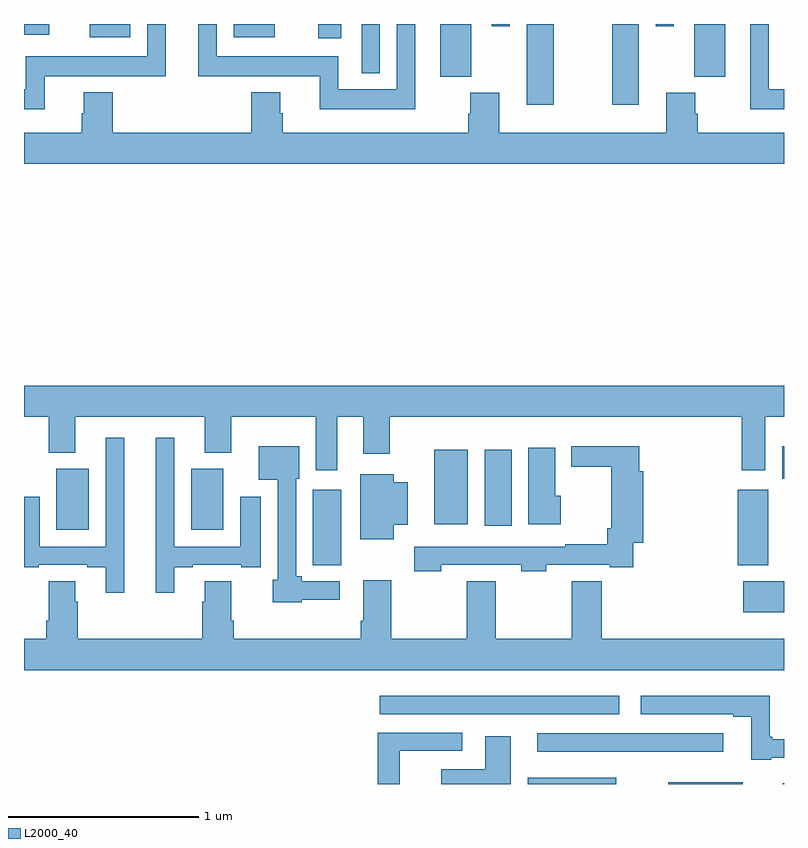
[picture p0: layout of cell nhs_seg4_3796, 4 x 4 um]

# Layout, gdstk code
import gdstk
lib = gdstk.Library(unit=1e-6, precision=1e-09)
def R(c, l, rs):  # rectangles x0, y0, x1, y1
    for r in rs: c.add(gdstk.rectangle(r[:2], r[2:], *l))
def P(c, l, *ps):  # polygons
    for p in ps: c.add(gdstk.Polygon(p, *l))
L2000_40 = (2000, 40)

nhs_seg4_3796 = lib.new_cell('nhs_seg4_3796')
R(nhs_seg4_3796, L2000_40, [(313.652,782.9,314.116,782.932), (314.39,782.9,314.782,782.908), (314.993,782.9,315,782.905), (313.701,783.071,314.68,783.168), (312.873,783.267,314.134,783.364), (314.786,783.803,315,783.966), (312.521,784.051,312.67,784.45), (314.756,784.052,314.917,784.45), (311.171,784.238,311.341,784.558), (311.879,784.238,312.049,784.558), (313.424,784.26,313.567,784.66), (313.16,784.268,313.336,784.66), (314.99,784.506,315,784.678), (313.19,786.622,313.354,786.9), (314.528,786.622,314.692,786.9), (312.777,786.641,312.873,786.9), (312.548,786.825,312.67,786.9), (311.345,786.83,311.56,786.9), (312.104,786.83,312.319,786.9), (311,786.843,311.134,786.9), (313.461,786.888,313.557,786.9), (314.325,786.888,314.421,786.9)])
P(nhs_seg4_3796, L2000_40, [(315,786.556),(314.919,786.556),(314.919,786.9),(314.822,786.9),(314.822,786.452),(315,786.452)],
  [(314.236,786.794),(314.235,786.794),(314.235,786.9),(314.139,786.9),(314.139,786.898),(314.095,786.898),(314.095,786.474),(314.236,786.474)],
  [(313.06,786.9),(312.963,786.9),(312.963,786.556),(312.654,786.556),(312.654,786.73),(312.015,786.73),(312.015,786.9),(311.918,786.9),(311.918,786.626),(312.557,786.626),(312.557,786.452),(313.06,786.452)],
  [(313.788,786.898),(313.743,786.898),(313.743,786.9),(313.647,786.9),(313.647,786.794),(313.646,786.794),(313.646,786.474),(313.788,786.474)],
  [(311.108,786.626),(311.746,786.626),(311.746,786.9),(311.649,786.9),(311.649,786.73),(311.01,786.73),(311.01,786.556),(311,786.556),(311,786.452),(311.108,786.452)],
  [(315,786.328),(314.546,786.328),(314.546,786.428),(314.533,786.428),(314.533,786.537),(314.381,786.537),(314.381,786.328),(313.502,786.328),(313.502,786.537),(313.349,786.537),(313.349,786.428),(313.337,786.428),(313.337,786.328),(312.362,786.328),(312.362,786.429),(312.349,786.429),(312.349,786.541),(312.197,786.541),(312.197,786.328),(311.468,786.328),(311.468,786.541),(311.315,786.541),(311.315,786.429),(311.303,786.429),(311.303,786.328),(311,786.328),(311,786.164),(315,786.164)],
  [(312.649,784.832),(312.785,784.832),(312.785,784.638),(312.925,784.638),(312.925,784.832),(314.777,784.832),(314.777,784.551),(314.902,784.551),(314.902,784.832),(315,784.832),(315,784.996),(311,784.996),(311,784.832),(311.129,784.832),(311.129,784.643),(311.269,784.643),(311.269,784.832),(311.951,784.832),(311.951,784.643),(312.091,784.643),(312.091,784.832),(312.536,784.832),(312.536,784.551),(312.649,784.551)],
  [(311.527,784.723),(311.43,784.723),(311.43,784.149),(311.083,784.149),(311.083,784.411),(311,784.411),(311,784.041),(311.077,784.041),(311.077,784.053),(311.333,784.053),(311.333,784.041),(311.429,784.041),(311.429,783.906),(311.527,783.906)],
  [(311.791,784.041),(311.887,784.041),(311.887,784.053),(312.143,784.053),(312.143,784.041),(312.247,784.041),(312.247,784.411),(312.137,784.411),(312.137,784.149),(311.79,784.149),(311.79,784.723),(311.693,784.723),(311.693,783.906),(311.791,783.906)],
  [(312.462,783.869),(312.661,783.869),(312.661,783.966),(312.462,783.966),(312.462,783.994),(312.432,783.994),(312.432,784.506),(312.448,784.506),(312.448,784.678),(312.236,784.678),(312.236,784.502),(312.336,784.502),(312.336,783.975),(312.308,783.975),(312.308,783.857),(312.462,783.857)],
  [(313.197,784.053),(313.617,784.053),(313.617,784.021),(313.749,784.021),(313.749,784.053),(314.084,784.053),(314.084,784.041),(314.207,784.041),(314.207,784.169),(314.258,784.169),(314.258,784.545),(314.237,784.545),(314.237,784.678),(313.881,784.678),(313.881,784.569),(314.09,784.569),(314.09,784.246),(314.071,784.246),(314.071,784.162),(313.849,784.162),(313.849,784.149),(313.053,784.149),(313.053,784.021),(313.197,784.021)],
  [(313.825,784.416),(313.795,784.416),(313.795,784.669),(313.655,784.669),(313.655,784.268),(313.825,784.268)],
  [(312.946,784.265),(313.021,784.265),(313.021,784.489),(312.946,784.489),(312.946,784.531),(312.77,784.531),(312.77,784.187),(312.946,784.187)],
  [(313.33,783.968),(313.33,783.664),(312.933,783.664),(312.933,783.973),(312.785,783.973),(312.785,783.76),(312.773,783.76),(312.773,783.664),(312.104,783.664),(312.104,783.76),(312.091,783.76),(312.091,783.968),(311.951,783.968),(311.951,783.86),(311.939,783.86),(311.939,783.664),(311.282,783.664),(311.282,783.86),(311.269,783.86),(311.269,783.968),(311.129,783.968),(311.129,783.76),(311.117,783.76),(311.117,783.664),(311,783.664),(311,783.5),(315,783.5),(315,783.664),(314.042,783.664),(314.042,783.968),(313.882,783.968),(313.882,783.664),(313.484,783.664),(313.484,783.968)],
  [(314.932,783.038),(315,783.038),(315,783.136),(314.938,783.136),(314.938,783.148),(314.926,783.148),(314.926,783.364),(314.247,783.364),(314.247,783.267),(314.732,783.267),(314.732,783.255),(314.828,783.255),(314.828,783.027),(314.932,783.027)],
  [(312.978,783.074),(312.98,783.074),(312.98,783.075),(313.306,783.075),(313.306,783.171),(312.862,783.171),(312.862,782.9),(312.978,782.9)],
  [(313.561,783.151),(313.427,783.151),(313.427,782.977),(313.196,782.977),(313.196,782.9),(313.561,782.9)])

lib.write_gds('nhs_seg4_3796.gds')
